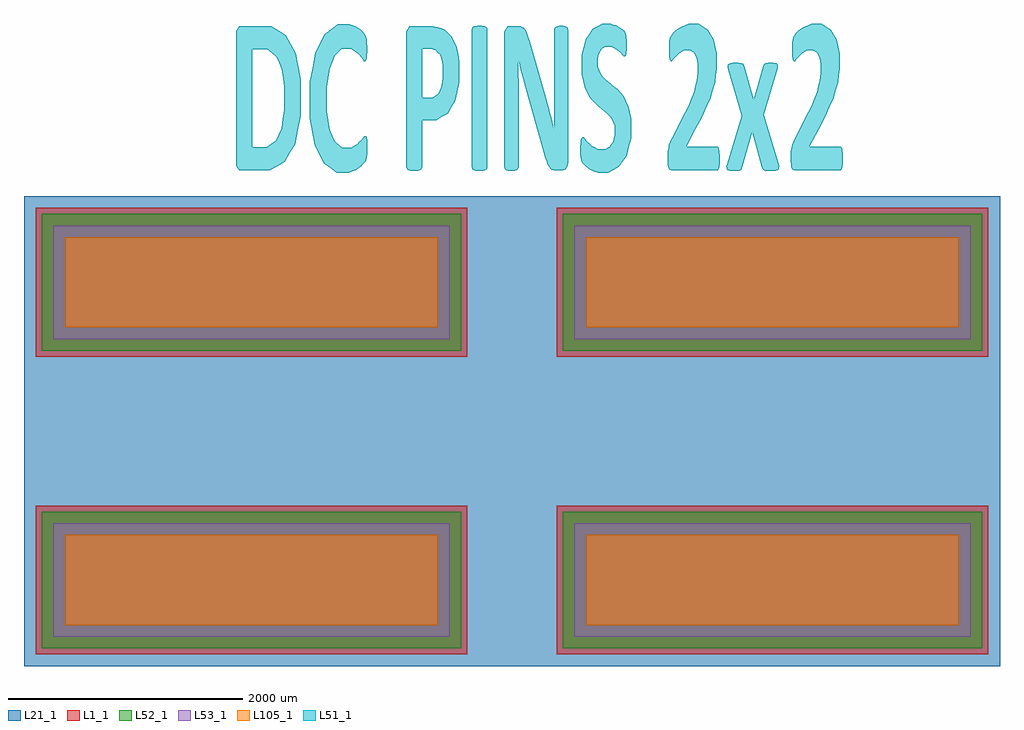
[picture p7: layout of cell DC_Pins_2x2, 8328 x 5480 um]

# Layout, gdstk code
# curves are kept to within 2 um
import gdstk
lib = gdstk.Library(unit=1e-6, precision=1e-09)
def R(c, l, rs):  # rectangles x0, y0, x1, y1
    for r in rs: c.add(gdstk.rectangle(r[:2], r[2:], *l))
def P(c, l, *ps):  # polygons
    for p in ps: c.add(gdstk.Polygon(p, *l))
L1_1 = (1, 1)
L21_1 = (21, 1)
L51_1 = (51, 1)
L52_1 = (52, 1)
L53_1 = (53, 1)
L105_1 = (105, 1)

dc_pins_2x2 = lib.new_cell('DC_Pins_2x2')
R(dc_pins_2x2, L1_1, [(0,0,3683,1270), (4445,0,8128,1270), (0,2540,3683,3810), (4445,2540,8128,3810)])
R(dc_pins_2x2, L21_1, [(-100,-100,8228,3910)])
P(dc_pins_2x2, L51_1, [(4543.986,5321.239),(4538.875,5345.881),(4526.098,5357.254),(4502.588,5361.993),(4466.812,5361.993),(4443.302,5357.254),(4428.992,5345.881),(4422.858,5330.716),(4422.858,4680.552),(4425.925,4470.149),(4343.129,4781.963),(4204.625,5267.216),(4186.226,5317.448),(4165.272,5345.881),(4138.695,5358.201),(4026.768,5358.201),(3998.658,5313.657),(3998.658,4157.388),(4003.769,4142.224),(4017.057,4131.799),(4040.567,4126.112),(4076.854,4126.112),(4100.364,4131.799),(4114.163,4142.224),(4119.785,4157.388),(4119.785,4880.53),(4115.696,5084.299),(4172.427,4858.731),(4349.773,4237.948),(4370.217,4178.239),(4392.193,4143.172),(4418.259,4129.903),(4503.099,4129.903),(4522.009,4140.328),(4535.808,4163.075),(4543.986,4197.194)],
  [(2261.48,4908.963),(2217.526,5130.739),(2133.197,5281.433),(2010.026,5358.201),(1735.062,5358.201),(1712.063,5321.239),(1712.063,4168.761),(1735.062,4131.799),(1845.967,4131.799),(1845.967,5162.963),(1975.783,5162.963),(2051.935,5101.358),(2100.488,4991.418),(2122.464,4841.672),(2122.464,4648.328),(2097.421,4489.104),(2046.824,4382.007),(1971.183,4328.933),(1845.967,4328.933),(1845.967,4131.799),(1997.76,4131.799),(2125.02,4202.881),(2213.949,4354.522),(2261.48,4594.306)],
  [(2829.295,4351.679),(2823.162,4415.179),(2817.029,4422.761),(2805.274,4422.761),(2781.253,4392.433),(2743.944,4354.522),(2691.813,4323.246),(2616.684,4323.246),(2553.82,4373.478),(2509.356,4475.836),(2485.335,4634.112),(2485.335,4840.724),(2507.823,4998.052),(2551.265,5108.94),(2613.106,5168.649),(2688.236,5168.649),(2739.855,5135.478),(2777.164,5094.724),(2800.674,5061.552),(2812.94,5061.552),(2820.096,5072.925),(2825.206,5097.567),(2825.717,5228.358),(2817.54,5271.955),(2803.741,5297.545),(2768.987,5333.56),(2725.545,5361.045),(2674.436,5378.104),(2578.863,5378.104),(2465.914,5292.806),(2385.162,5127.896),(2340.187,4885.269),(2340.187,4575.351),(2381.073,4344.097),(2457.736,4189.612),(2567.108,4111.896),(2669.837,4111.896),(2729.633,4132.746),(2776.142,4164.022),(2808.341,4198.142),(2824.695,4237),(2829.295,4293.866)],
  [(5080.114,4573.455),(5055.582,4682.448),(5015.717,4763.007),(4964.609,4820.821),(4860.347,4907.067),(4819.972,4953.507),(4795.951,5013.216),(4795.951,5081.455),(4806.683,5130.739),(4828.66,5165.806),(4861.37,5185.709),(4911.456,5185.709),(4958.476,5160.119),(4994.252,5128.843),(5018.784,5102.306),(5030.028,5102.306),(5036.672,5113.679),(5041.783,5176.231),(5040.76,5261.53),(5034.627,5296.597),(5024.406,5315.552),(4992.718,5343.985),(4951.832,5366.731),(4904.812,5380),(4835.815,5380),(4754.553,5336.403),(4694.756,5248.261),(4659.491,5114.627),(4659.491,4949.716),(4684.023,4839.776),(4723.377,4759.216),(4773.463,4701.403),(4876.702,4615.157),(4916.056,4568.716),(4940.588,4509.007),(4940.588,4431.291),(4926.277,4372.53),(4899.19,4332.724),(4860.347,4310.925),(4798.506,4310.925),(4741.776,4342.201),(4700.889,4380.112),(4674.823,4411.388),(4662.557,4411.388),(4654.891,4400.963),(4650.291,4376.321),(4648.247,4336.515),(4648.247,4263.537),(4653.869,4217.097),(4667.157,4192.455),(4697.311,4160.231),(4742.287,4130.851),(4801.061,4110),(4885.902,4110),(4974.83,4159.284),(5041.271,4256.903),(5080.114,4402.858)],
  [(5836.009,4259.746),(5832.942,4298.604),(5826.809,4322.299),(5818.121,4333.672),(5552.357,4333.672),(5687.794,4587.672),(5758.324,4749.739),(5797.166,4883.373),(5809.432,4999),(5809.432,5126.948),(5784.389,5245.418),(5733.281,5331.664),(5656.107,5380),(5571.778,5380),(5511.47,5357.254),(5461.383,5324.082),(5427.141,5289.015),(5414.364,5266.269),(5409.253,5250.157),(5404.653,5198.978),(5404.653,5144.955),(5411.297,5073.873),(5417.941,5062.5),(5429.185,5062.5),(5452.695,5091.881),(5487.96,5126.948),(5534.469,5155.381),(5586.088,5155.381),(5617.775,5131.687),(5638.73,5089.985),(5649.463,5034.067),(5649.463,4968.672),(5640.774,4892.851),(5617.264,4802.813),(5575.355,4693.821),(5416.408,4380.112),(5403.631,4346.94),(5395.453,4311.873),(5392.387,4267.328),(5392.387,4202.881),(5396.987,4161.179),(5407.208,4139.381),(5423.563,4131.799),(5820.165,4131.799),(5828.343,4142.224),(5833.453,4166.866)],
  [(6886.009,4259.746),(6882.942,4298.604),(6876.809,4322.299),(6868.121,4333.672),(6602.357,4333.672),(6737.794,4587.672),(6808.324,4749.739),(6847.166,4883.373),(6859.432,4999),(6859.432,5126.948),(6834.389,5245.418),(6783.281,5331.664),(6706.107,5380),(6621.778,5380),(6561.47,5357.254),(6511.383,5324.082),(6477.141,5289.015),(6464.364,5266.269),(6459.253,5250.157),(6454.653,5198.978),(6454.653,5144.955),(6461.297,5073.873),(6467.941,5062.5),(6479.185,5062.5),(6502.695,5091.881),(6537.96,5126.948),(6584.469,5155.381),(6636.088,5155.381),(6667.775,5131.687),(6688.73,5089.985),(6699.463,5034.067),(6699.463,4968.672),(6690.774,4892.851),(6667.264,4802.813),(6625.355,4693.821),(6466.408,4380.112),(6453.631,4346.94),(6445.453,4311.873),(6442.387,4267.328),(6442.387,4202.881),(6446.987,4161.179),(6457.208,4139.381),(6473.563,4131.799),(6870.165,4131.799),(6878.343,4142.224),(6883.453,4166.866)],
  [(3615.344,5060.604),(3592.856,5180.97),(3549.925,5271.007),(3489.106,5329.769),(3429.82,5351.567),(3387.4,5358.201),(3187.566,5358.201),(3162.523,5313.657),(3162.523,4156.44),(3168.656,4141.276),(3183.988,4131.799),(3210.053,4126.112),(3249.407,4126.112),(3274.961,4131.799),(3290.294,4141.276),(3296.938,4156.44),(3296.938,5165.806),(3375.134,5165.806),(3414.488,5155.381),(3450.263,5115.575),(3474.796,5032.172),(3474.796,4920.336),(3460.485,4839.776),(3432.887,4781.963),(3389.444,4749.739),(3296.938,4749.739),(3296.938,4557.343),(3417.554,4557.343),(3514.149,4614.209),(3580.59,4723.201),(3615.344,4882.425)],
  [(3854.532,5324.082),(3854.532,5333.56),(3847.888,5348.724),(3832.555,5358.201),(3807.001,5363.888),(3767.647,5363.888),(3742.093,5358.201),(3726.249,5348.724),(3719.605,5333.56),(3719.605,4156.44),(3726.249,4141.276),(3741.582,4131.799),(3767.647,4126.112),(3807.001,4126.112),(3832.555,4131.799),(3847.888,4141.276),(3854.532,4156.44)],
  [(6213.19,4603.784),(6332.272,5006.582),(6332.784,5030.276),(6321.029,5043.545),(6293.941,5047.336),(6251.521,5047.336),(6228.522,5043.545),(6215.234,5035.963),(6209.101,5024.59),(6126.816,4734.575),(6042.998,5026.485),(6035.843,5038.806),(6020.511,5044.493),(5993.423,5047.336),(5945.892,5047.336),(5916.76,5041.649),(5903.472,5028.381),(5903.983,5004.687),(5908.583,4987.627),(6025.11,4597.149),(5894.273,4164.97),(5894.784,4144.119),(5907.05,4130.851),(5933.626,4126.112),(5977.579,4126.112),(6004.156,4128.955),(6018.977,4137.485),(6026.133,4149.806),(6112.506,4459.724),(6198.879,4149.806),(6206.546,4137.485),(6222.389,4128.955),(6298.03,4126.112),(6327.673,4130.851),(6341.983,4144.119),(6342.494,4164.97),(6338.406,4181.082)])
R(dc_pins_2x2, L52_1, [(50.8,50.8,3632.2,1219.2), (4495.8,50.8,8077.2,1219.2), (50.8,2590.8,3632.2,3759.2), (4495.8,2590.8,8077.2,3759.2)])
R(dc_pins_2x2, L53_1, [(150.8,150.8,3532.2,1119.2), (4595.8,150.8,7977.2,1119.2), (150.8,2690.8,3532.2,3659.2), (4595.8,2690.8,7977.2,3659.2)])
R(dc_pins_2x2, L105_1, [(250.8,250.8,3432.2,1019.2), (4695.8,250.8,7877.2,1019.2), (250.8,2790.8,3432.2,3559.2), (4695.8,2790.8,7877.2,3559.2)])

lib.write_gds('DC_Pins_2x2.gds')
